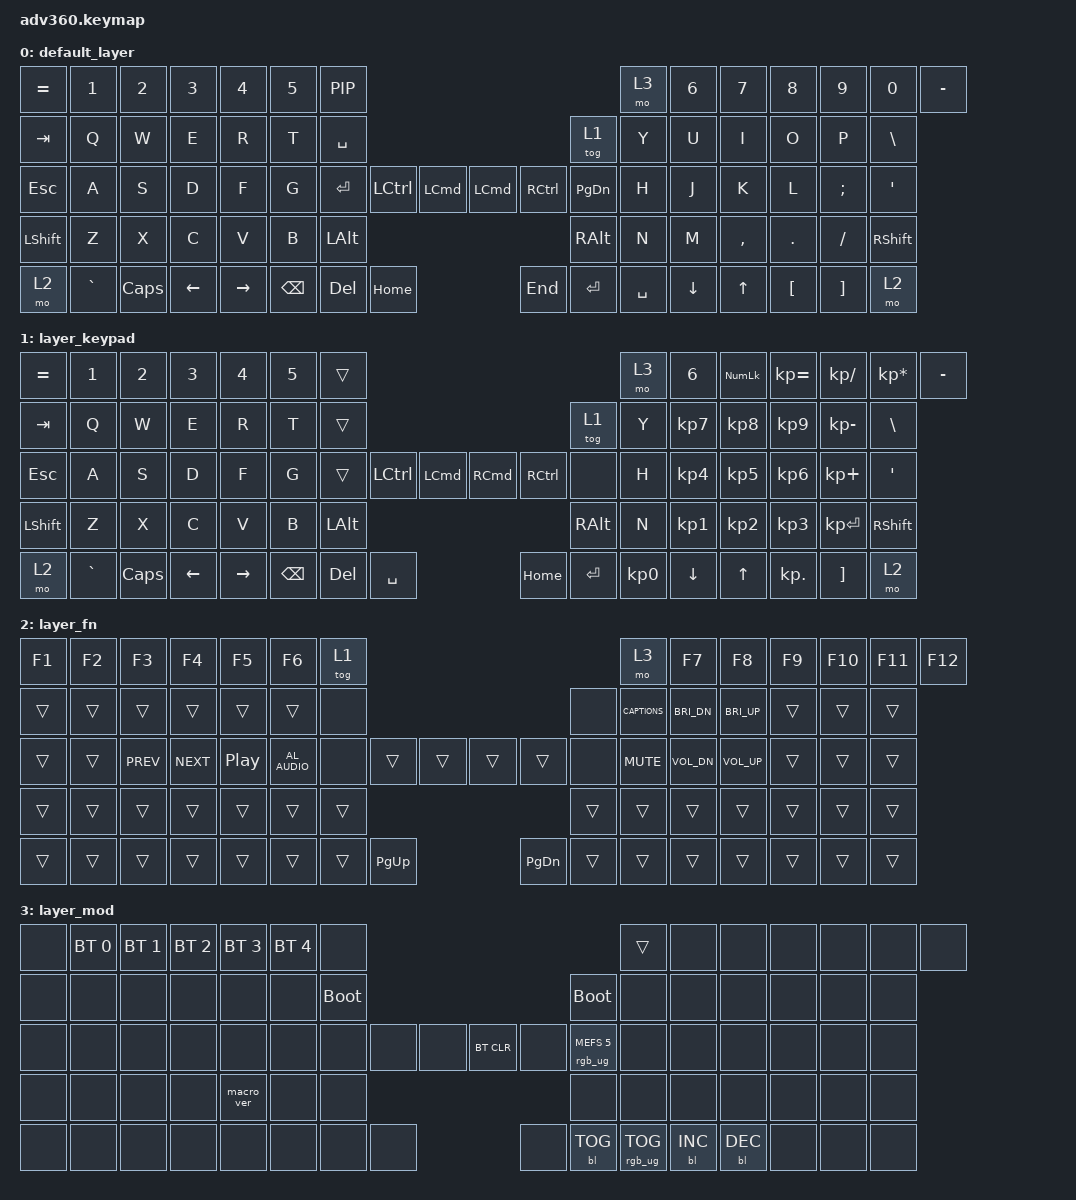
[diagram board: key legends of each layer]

/*
 * Copyright (c) 2020 The ZMK Contributors
 *
 * SPDX-License-Identifier: MIT
 */


/* THIS FILE WAS GENERATED!
 *
 * This file was generated automatically. You may or may not want to
 * edit it directly.
 */

#include <behaviors.dtsi>
#include <dt-bindings/zmk/keys.h>
#include <dt-bindings/zmk/bt.h>
#include <dt-bindings/zmk/rgb.h>
#include <dt-bindings/zmk/backlight.h>

/ {
  behaviors {
    #include "macros.dtsi"
    #include "version.dtsi"

    hm: homerow_mods {
        compatible = "zmk,behavior-hold-tap";
        label = "HOMEROW_MODS";
        #binding-cells = <2>;
        tapping-term-ms = <200>;
        quick_tap_ms = <175>;
        flavor = "tap-preferred";
        bindings = <&kp>, <&kp>;
    };
  };

    keymap {
        compatible = "zmk,keymap";


        default_layer {
            bindings = <
 &kp EQUAL     &kp N1    &kp N2    &kp N3     &kp N4  &kp N5            &kp C_PIP                                                                                    &mo 3  &kp N6    &kp N7     &kp N8    &kp N9    &kp N0  &kp MINUS
   &kp TAB      &kp Q     &kp W     &kp E      &kp R   &kp T            &kp SPACE                                                                                   &tog 1   &kp Y     &kp U      &kp I     &kp O     &kp P   &kp BSLH
   &kp ESC      &kp A     &kp S     &kp D      &kp F   &kp G            &kp ENTER  &kp LCTRL  &kp LEFT_COMMAND                  &kp LEFT_COMMAND  &kp RCTRL  &kp PAGE_DOWN   &kp H     &kp J      &kp K     &kp L  &kp SEMI    &kp SQT
 &kp LSHFT      &kp Z     &kp X     &kp C      &kp V   &kp B                                      &kp LEFT_ALT                     &kp RIGHT_ALT                             &kp N     &kp M  &kp COMMA   &kp DOT  &kp FSLH  &kp RSHFT
     &mo 2  &kp GRAVE  &kp CAPS  &kp LEFT  &kp RIGHT                     &kp BSPC    &kp DEL          &kp HOME                           &kp END  &kp ENTER      &kp SPACE          &kp DOWN     &kp UP  &kp LBKT  &kp RBKT      &mo 2
            >;
        };

        layer_keypad {
            bindings = <
 &kp EQUAL     &kp N1    &kp N2    &kp N3     &kp N4  &kp N5              &trans                                                                                                &mo 3  &kp N6  &kp KP_NUM  &kp KP_EQUAL  &kp KP_DIVIDE  &kp KP_MULTIPLY  &kp MINUS
   &kp TAB      &kp Q     &kp W     &kp E      &kp R   &kp T              &trans                                                                                               &tog 1   &kp Y   &kp KP_N7     &kp KP_N8      &kp KP_N9     &kp KP_MINUS   &kp BSLH
   &kp ESC      &kp A     &kp S     &kp D      &kp F   &kp G              &trans  &kp LEFT_CONTROL  &kp LEFT_COMMAND                  &kp RIGHT_COMMAND  &kp RIGHT_CONTROL      &none   &kp H   &kp KP_N4     &kp KP_N5      &kp KP_N6      &kp KP_PLUS    &kp SQT
 &kp LSHFT      &kp Z     &kp X     &kp C      &kp V   &kp B                                            &kp LEFT_ALT                      &kp RIGHT_ALT                                 &kp N   &kp KP_N1     &kp KP_N2      &kp KP_N3     &kp KP_ENTER  &kp RSHFT
     &mo 2  &kp GRAVE  &kp CAPS  &kp LEFT  &kp RIGHT                    &kp BSPC           &kp DEL         &kp SPACE                           &kp HOME          &kp ENTER  &kp KP_N0            &kp DOWN        &kp UP     &kp KP_DOT         &kp RBKT      &mo 2
            >;
        };

        layer_fn {
            bindings = <
 &kp F1  &kp F2      &kp F3      &kp F4    &kp F5          &kp F6            &tog 1                                                         &mo 3          &kp F7        &kp F8        &kp F9  &kp F10  &kp F11  &kp F12
 &trans  &trans      &trans      &trans    &trans          &trans             &none                                                         &none  &kp C_CAPTIONS  &kp C_BRI_DN  &kp C_BRI_UP   &trans   &trans   &trans
 &trans  &trans  &kp C_PREV  &kp C_NEXT  &kp C_PP  &kp C_AL_AUDIO             &none  &trans     &trans                     &trans  &trans   &none      &kp C_MUTE  &kp C_VOL_DN  &kp C_VOL_UP   &trans   &trans   &trans
 &trans  &trans      &trans      &trans    &trans          &trans                               &trans                     &trans                          &trans        &trans        &trans   &trans   &trans   &trans
 &trans  &trans      &trans      &trans    &trans                            &trans  &trans  &kp PG_UP                  &kp PG_DN  &trans  &trans                        &trans        &trans   &trans   &trans   &trans
            >;
        };

        layer_mod {
            bindings = <
  &none  &bt BT_SEL 0  &bt BT_SEL 1  &bt BT_SEL 2  &bt BT_SEL 3  &bt BT_SEL 4                  &none                                                                          &trans   &none       &none       &none   &none   &none   &none
  &none         &none         &none         &none         &none         &none            &bootloader                                                                     &bootloader   &none       &none       &none   &none   &none   &none
  &none         &none         &none         &none         &none         &none                  &none   &none   &none                  &bt BT_CLR       &none  &rgb_ug RGB_MEFS_CMD 5   &none       &none       &none   &none   &none   &none
  &none         &none         &none         &none    &macro_ver         &none                                  &none                       &none                                       &none       &none       &none   &none   &none   &none
  &none         &none         &none         &none         &none                                &none   &none   &none                       &none  &bl BL_TOG         &rgb_ug RGB_TOG          &bl BL_INC  &bl BL_DEC   &none   &none   &none
            >;
        };

    };
};
